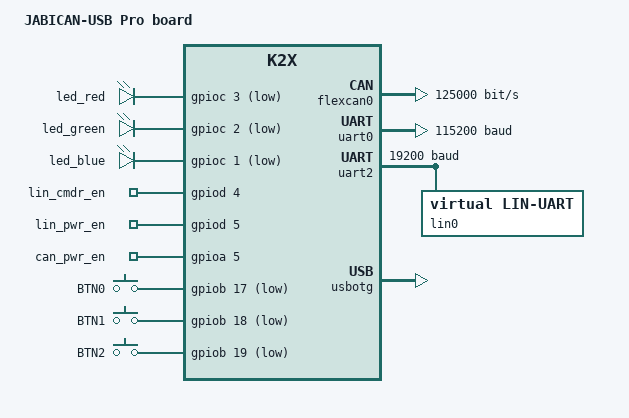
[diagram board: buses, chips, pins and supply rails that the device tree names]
/dts-v1/;

#include <nxp/nxp_k2x.dtsi>
#include "jabican_usb_pro-pinctrl.dtsi"

/ {
    model = "JABICAN-USB Pro board";
    compatible = "nxp,mk22f12", "nxp,k22f", "nxp,k2x";
    // actually MK22F1M0AVLH12 which has CAN!

    aliases {
        bootloader-led0 = &led_blue;
        led0 = &led_red;
        led1 = &led_green;
        led2 = &led_blue;
        sw0 = &btn0;
        sw1 = &btn1;
        sw2 = &btn2;
    };

    chosen {
        zephyr,sram = &sram0;
        zephyr,flash = &flash0;
        zephyr,console = &uart0;
        zephyr,code-partition = &slot0_partition;
    };

    leds {
        compatible = "gpio-leds";
        led_red: led_red {
            gpios = <&gpioc 3 GPIO_ACTIVE_LOW>;
        };
        led_green: led_green {
            gpios = <&gpioc 2 GPIO_ACTIVE_LOW>;
        };
        led_blue: led_blue {
            gpios = <&gpioc 1 GPIO_ACTIVE_LOW>;
        };
        lin_cmdr_en: lin_cmdr_en {
            gpios = <&gpiod 4 GPIO_ACTIVE_HIGH>;
        };
        lin_pwr_en: lin_pwr_en {
            gpios = <&gpiod 5 GPIO_ACTIVE_HIGH>;
        };
        can_pwr_en: can_pwr_en {
            gpios = <&gpioa 5 GPIO_ACTIVE_HIGH>;
        };
    };

    buttons {
        compatible = "gpio-keys";
        btn0: btn0 {
            gpios = <&gpiob 17 (GPIO_ACTIVE_LOW | GPIO_PULL_UP)>;
            label = "BTN0";
        };
        btn1: btn1 {
            gpios = <&gpiob 18 (GPIO_ACTIVE_LOW | GPIO_PULL_UP)>;
            label = "BTN1";
        };
        btn2: btn2 {
            gpios = <&gpiob 19 (GPIO_ACTIVE_LOW | GPIO_PULL_UP)>;
            label = "BTN2";
        };
    };

    soc {
        flexcan0: can@40024000 {
            compatible = "nxp,flexcan";
            reg = <0x40024000 0x1000>;
            interrupts = <75 0>, <76 0>, <77 0>, <78 0>, <79 0>, <80 0>;
            interrupt-names = "mb-0-15", "bus-off", "error", "tx-warning", "rx-warning", "wake-up";
            clocks = <&sim KINETIS_SIM_BUS_CLK 0x103C 4>;
            clk-source = <1>;
            sample-point = <875>;
            status = "disabled";
        };
    };
};

&sim {
    pllfll-select = <KINETIS_SIM_PLLFLLSEL_MCGPLLCLK>;
    er32k-select = <KINETIS_SIM_ER32KSEL_RTC>;

    flash_clk {
        clock-div = <5>;
    };
};

&flash0 {
    partitions {
        compatible = "fixed-partitions";
        #address-cells = <1>;
        #size-cells = <1>;

        boot_partition: partition@0 {
            label = "mcuboot";
            reg = <0x00000000 0x00010000>; // 64KiB
            read-only;
        };
        slot0_partition: partition@10000 {
            label = "image-0";
            reg = <0x00010000 0x000F0000>; // 960KiB
        };
    };
};

&gpioa {
    status = "okay";
};

&gpiob {
    status = "okay";
};

&gpioc {
    status = "okay";
};

&gpiod {
    status = "okay";
};

&gpioe {
    status = "okay";
};

&uart0 {
    status = "okay";
    current-speed = <115200>;
    pinctrl-0 = <&uart0_default>;
    pinctrl-names = "default";
};

&uart2 {
    status = "okay";
    current-speed = <19200>;
    pinctrl-0 = <&uart2_default>;
    pinctrl-names = "default";

    lin0: lin0 {
        compatible = "virtual,lin-uart";
        status = "okay";
        bitrate = <19200>;
        max-wait-percent = <150>;
    };
};

&flexcan0 {
    status = "okay";
    pinctrl-0 = <&flexcan0_default>;
    pinctrl-names = "default";
    bus-speed = <125000>;
};

zephyr_udc0: &usbotg {
    compatible = "nxp,kinetis-usbd";
    status = "okay";
    num-bidir-endpoints = <8>;
};
